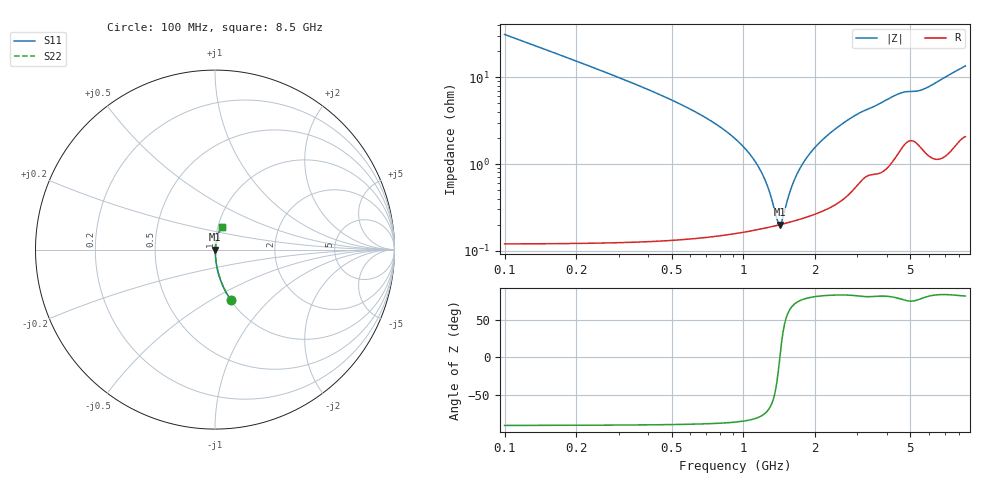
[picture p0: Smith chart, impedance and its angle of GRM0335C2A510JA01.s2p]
!Murata Part Number: GRM0335C2A510JA01
!These Parameters are Measured in Series Mode Connection
!Data Generated on Mar 30, 2021
!  o--ll--o
!Port1  Port2
!  o------o
!Operation Temp=25[degC], DC Bias Voltage=0[V]
!Freq. Start=100[MHz] Stop=9[GHz] 401[Steps]
# Hz S RI R 50
!Freq.(Hz) S11(Real) S11(Imag) S21(Real) S21(Imag) S12(Real) S12(Imag) S22(Real) S22(Imag)
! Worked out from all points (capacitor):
!   401 points, 100 MHz to 8.5 GHz, reference 50 ohm
!   read as one part in series: C = 51 pF near 142 MHz
!   lowest |Z| = 200 mohm at 1.423 GHz (marker M1)
!   series resonance near 1.421 GHz, so ESL is about 250 pH
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1e8  0.0888 -0.2826  0.9112 0.2826  0.9112 0.2826  0.0888 -0.2826
2.26e8  0.0189 -0.1319  0.9811 0.1319  0.9811 0.1319  0.0189 -0.1319
3.52e8  0.0081 -0.0824  0.9919 0.0824  0.9919 0.0824  0.0081 -0.0824
5.2e8  0.00401 -0.0517  0.996 0.0517  0.996 0.0517  0.00401 -0.0517
9.19e8  0.00196 -0.0197  0.998 0.0197  0.998 0.0197  0.00196 -0.0197
1.108e9  0.00184 -0.011  0.9982 0.011  0.9982 0.011  0.00184 -0.011
1.234e9  0.00186 -0.00618  0.9981 0.00618  0.9981 0.00618  0.00186 -0.00618
1.381e9  0.00196 -0.00124  0.998 0.00124  0.998 0.00124  0.00196 -0.00124
1.423e9  0.002 7.31e-05  0.998 -7.31e-05  0.998 -7.31e-05  0.002 7.31e-05
1.465e9  0.00204 0.00135  0.998 -0.00135  0.998 -0.00135  0.00204 0.00135
1.507e9  0.00208 0.00259  0.9979 -0.00259  0.9979 -0.00259  0.00208 0.00259
1.591e9  0.00219 0.00498  0.9978 -0.00498  0.9978 -0.00498  0.00219 0.00498
1.675e9  0.0023 0.00726  0.9977 -0.00726  0.9977 -0.00726  0.0023 0.00726
1.801e9  0.0025 0.0105  0.9975 -0.0105  0.9975 -0.0105  0.0025 0.0105
1.948e9  0.00277 0.0141  0.9972 -0.0141  0.9972 -0.0141  0.00277 0.0141
2.347e9  0.00376 0.0232  0.9962 -0.0232  0.9962 -0.0232  0.00376 0.0232
2.914e9  0.0064 0.0351  0.9936 -0.0351  0.9936 -0.0351  0.0064 0.0351
4.3e9  0.0149 0.0587  0.9851 -0.0587  0.9851 -0.0587  0.0149 0.0587
4.699e9  0.0202 0.0629  0.9798 -0.0629  0.9798 -0.0629  0.0202 0.0629
5.707e9  0.0187 0.0696  0.9813 -0.0696  0.9813 -0.0696  0.0187 0.0696
7.114e9  0.0225 0.0985  0.9775 -0.0985  0.9775 -0.0985  0.0225 0.0985
8.5e9  0.0367 0.1257  0.9633 -0.1257  0.9633 -0.1257  0.0367 0.1257
